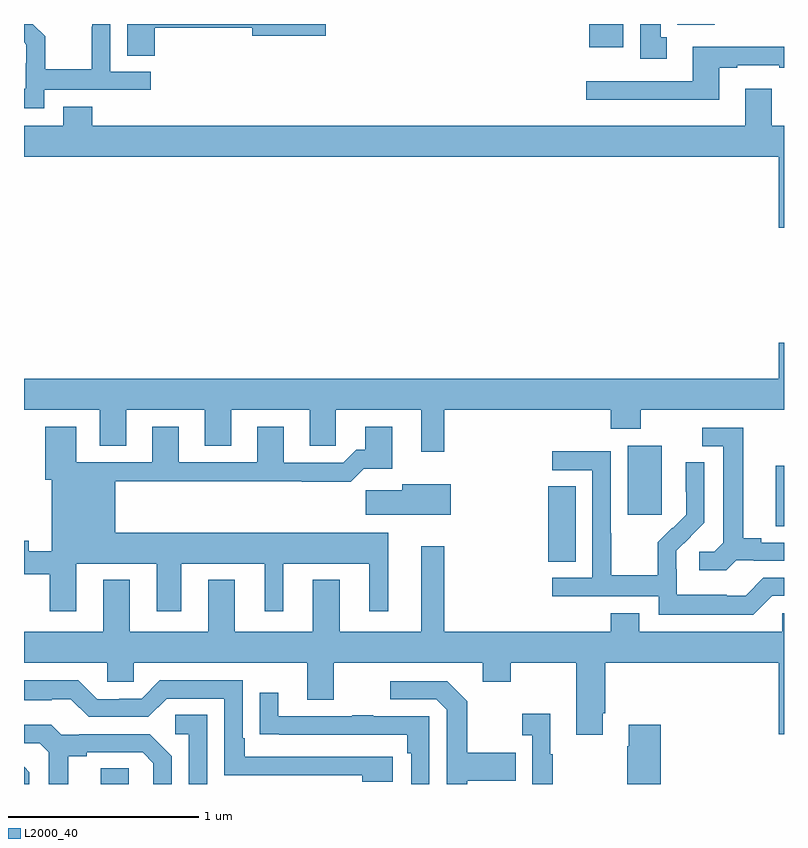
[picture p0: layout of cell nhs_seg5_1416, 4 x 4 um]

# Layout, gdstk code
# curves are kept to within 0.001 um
import gdstk
lib = gdstk.Library(unit=1e-6, precision=1e-09)
def R(c, l, rs):  # rectangles x0, y0, x1, y1
    for r in rs: c.add(gdstk.rectangle(r[:2], r[2:], *l))
def P(c, l, *ps):  # polygons
    for p in ps: c.add(gdstk.Polygon(p, *l))
L2000_40 = (2000, 40)

nhs_seg5_1416 = lib.new_cell('nhs_seg5_1416')
R(nhs_seg5_1416, L2000_40, [(197.405,846.799,197.55,846.881), (199.76,847.969,199.903,848.366), (200.957,848.155,201,848.475), (200.177,848.217,200.356,848.578), (199.976,850.676,200.155,850.799), (200.438,850.796,200.635,850.799)])
P(nhs_seg5_1416, L2000_40, [(197.687,850.78),(198.2,850.78),(198.2,850.738),(198.589,850.738),(198.589,850.799),(197.543,850.799),(197.543,850.633),(197.687,850.633)],
  [(197.106,850.452),(197.668,850.452),(197.668,850.548),(197.454,850.548),(197.454,850.799),(197.358,850.799),(197.358,850.784),(197.356,850.784),(197.356,850.561),(197.111,850.561),(197.111,850.735),(197.047,850.799),(197,850.799),(197,850.702),(197.012,850.69),(197.012,850.593),(197.01,850.593),(197.01,850.459),(197,850.459),(197,850.355),(197.106,850.355)],
  [(200.383,850.73),(200.35,850.73),(200.35,850.799),(200.243,850.799),(200.243,850.617),(200.383,850.617)],
  [(200.659,850.569),(200.755,850.569),(200.755,850.581),(200.975,850.581),(200.975,850.569),(201,850.569),(201,850.678),(200.519,850.678),(200.519,850.497),(199.959,850.497),(199.959,850.4),(200.659,850.4)],
  [(201,850.264),(200.935,850.264),(200.935,850.459),(200.795,850.459),(200.795,850.264),(197.36,850.264),(197.36,850.363),(197.207,850.363),(197.207,850.264),(197,850.264),(197,850.1),(200.972,850.1),(200.972,849.726),(201,849.726)],
  [(199.213,848.768),(200.087,848.768),(200.087,848.669),(200.247,848.669),(200.247,848.768),(201,848.768),(201,849.121),(200.972,849.121),(200.972,848.932),(197,848.932),(197,848.768),(197.399,848.768),(197.399,848.578),(197.539,848.578),(197.539,848.768),(197.951,848.768),(197.951,848.578),(198.091,848.578),(198.091,848.768),(198.503,848.768),(198.503,848.578),(198.642,848.578),(198.642,848.768),(199.091,848.768),(199.091,848.547),(199.213,848.547)],
  [(197.275,847.958),(197.699,847.958),(197.699,847.707),(197.827,847.707),(197.827,847.958),(198.266,847.958),(198.266,847.707),(198.364,847.707),(198.364,847.958),(198.818,847.958),(198.818,847.707),(198.916,847.707),(198.916,848.122),(197.479,848.122),(197.479,848.392),(198.463,848.392),(198.463,848.39),(198.719,848.39),(198.788,848.459),(198.937,848.459),(198.937,848.68),(198.797,848.68),(198.797,848.557),(198.748,848.557),(198.681,848.49),(198.367,848.49),(198.367,848.68),(198.227,848.68),(198.227,848.493),(197.815,848.493),(197.815,848.68),(197.675,848.68),(197.675,848.493),(197.275,848.493),(197.275,848.68),(197.111,848.68),(197.111,848.4),(197.147,848.4),(197.147,848.023),(197.026,848.023),(197.026,848.078),(197,848.078),(197,847.902),(197.135,847.902),(197.135,847.707),(197.275,847.707)],
  [(200.748,847.977),(200.842,847.977),(200.842,847.974),(201,847.974),(201,848.07),(200.881,848.07),(200.881,848.093),(200.785,848.093),(200.785,848.673),(200.571,848.673),(200.571,848.577),(200.681,848.577),(200.681,848.069),(200.634,848.022),(200.553,848.022),(200.553,847.925),(200.696,847.925)],
  [(200.937,847.791),(201,847.791),(201,847.884),(200.892,847.884),(200.799,847.791),(200.699,847.791),(200.699,847.795),(200.436,847.795),(200.436,847.929),(200.434,847.929),(200.434,848.026),(200.58,848.174),(200.58,848.492),(200.484,848.492),(200.484,848.338),(200.486,848.338),(200.486,848.216),(200.415,848.145),(200.412,848.148),(200.335,848.071),(200.335,847.897),(200.091,847.897),(200.091,848.12),(200.088,848.12),(200.088,848.55),(199.779,848.55),(199.779,848.451),(199.992,848.451),(199.992,847.884),(199.779,847.884),(199.779,847.788),(200.34,847.788),(200.34,847.691),(200.837,847.691)],
  [(199.246,848.377),(198.992,848.377),(198.992,848.345),(198.798,848.345),(198.798,848.216),(199.246,848.216)],
  [(200.047,847.171),(200.06,847.171),(200.06,847.436),(200.972,847.436),(200.972,847.062),(201,847.062),(201,847.698),(200.991,847.698),(200.991,847.6),(200.239,847.6),(200.239,847.699),(200.087,847.699),(200.087,847.6),(199.213,847.6),(199.213,848.05),(199.091,848.05),(199.091,847.6),(198.661,847.6),(198.661,847.873),(198.521,847.873),(198.521,847.6),(198.109,847.6),(198.109,847.873),(197.969,847.873),(197.969,847.6),(197.557,847.6),(197.557,847.873),(197.417,847.873),(197.417,847.6),(197,847.6),(197,847.436),(197.439,847.436),(197.439,847.338),(197.577,847.338),(197.577,847.436),(198.491,847.436),(198.491,847.242),(198.631,847.242),(198.631,847.436),(199.415,847.436),(199.415,847.337),(199.563,847.337),(199.563,847.436),(199.907,847.436),(199.907,847.059),(200.047,847.059)],
  [(198.94,846.942),(198.163,846.942),(198.163,847.039),(198.15,847.039),(198.15,847.344),(197.715,847.344),(197.619,847.248),(197.501,847.248),(197.501,847.245),(197.385,847.245),(197.285,847.345),(197,847.345),(197,847.241),(197.147,847.241),(197.147,847.245),(197.247,847.245),(197.34,847.152),(197.655,847.152),(197.751,847.248),(198.054,847.248),(198.054,846.846),(198.779,846.846),(198.779,846.812),(198.94,846.812)],
  [(199.333,846.815),(199.589,846.815),(199.589,846.963),(199.333,846.963),(199.333,847.235),(199.227,847.341),(198.927,847.341),(198.927,847.245),(199.17,847.245),(199.224,847.191),(199.224,846.799),(199.333,846.799)],
  [(199.134,847.155),(198.839,847.155),(198.839,847.16),(198.727,847.16),(198.727,847.155),(198.337,847.155),(198.337,847.279),(198.241,847.279),(198.241,847.06),(198.343,847.06),(198.343,847.059),(199.018,847.059),(199.018,846.962),(199.038,846.962),(199.038,846.799),(199.134,846.799)],
  [(199.783,846.955),(199.771,846.955),(199.771,847.168),(199.623,847.168),(199.623,847.055),(199.674,847.055),(199.674,846.799),(199.783,846.799)],
  [(197.964,847.163),(197.796,847.163),(197.796,847.062),(197.868,847.062),(197.868,846.799),(197.964,846.799)],
  [(197.233,846.944),(197.329,846.944),(197.329,846.966),(197.624,846.966),(197.681,846.909),(197.681,846.799),(197.778,846.799),(197.778,846.946),(197.662,847.062),(197.29,847.062),(197.29,847.059),(197.196,847.059),(197.144,847.111),(197.001,847.111),(197.001,847.014),(197.082,847.014),(197.129,846.967),(197.129,846.799),(197.233,846.799)],
  [(200.351,847.111),(200.183,847.111),(200.183,846.998),(200.176,846.998),(200.176,846.799),(200.351,846.799)],
  [(197.028,846.862),(197,846.89),(197,846.799),(197.028,846.799)])

lib.write_gds('nhs_seg5_1416.gds')
